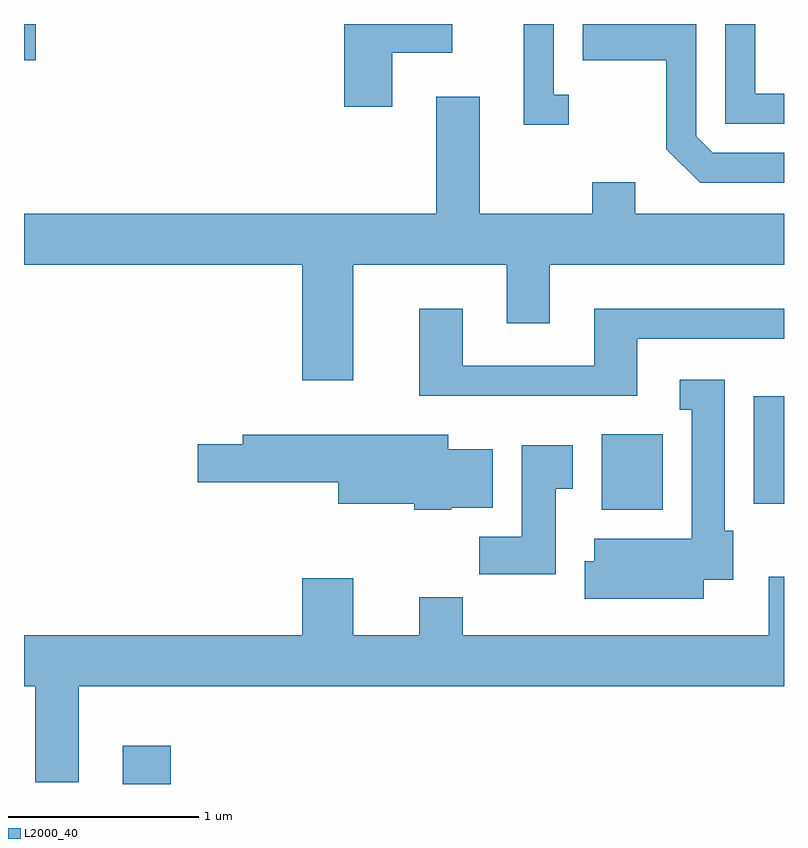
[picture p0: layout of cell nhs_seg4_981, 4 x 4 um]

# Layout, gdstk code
import gdstk
lib = gdstk.Library(unit=1e-6, precision=1e-09)
def R(c, l, rs):  # rectangles x0, y0, x1, y1
    for r in rs: c.add(gdstk.rectangle(r[:2], r[2:], *l))
def P(c, l, *ps):  # polygons
    for p in ps: c.add(gdstk.Polygon(p, *l))
L2000_40 = (2000, 40)

nhs_seg4_981 = lib.new_cell('nhs_seg4_981')
R(nhs_seg4_981, L2000_40, [(214.131,1311.982,214.384,1312.184), (216.651,1313.426,216.974,1313.824), (217.451,1313.456,217.611,1314.024), (213.611,1315.791,213.674,1315.982)])
P(nhs_seg4_981, L2000_40, [(216.478,1315.609),(216.399,1315.609),(216.399,1315.982),(216.241,1315.982),(216.241,1315.451),(216.478,1315.451)],
  [(217.611,1315.304),(217.237,1315.304),(217.149,1315.392),(217.149,1315.982),(216.551,1315.982),(216.551,1315.791),(216.991,1315.791),(216.991,1315.324),(217.169,1315.146),(217.611,1315.146)],
  [(217.611,1315.614),(217.459,1315.614),(217.459,1315.982),(217.301,1315.982),(217.301,1315.456),(217.611,1315.456)],
  [(215.549,1315.831),(215.864,1315.831),(215.864,1315.982),(215.296,1315.982),(215.296,1315.546),(215.549,1315.546)],
  [(215.344,1314.716),(216.151,1314.716),(216.151,1314.406),(216.379,1314.406),(216.379,1314.716),(217.611,1314.716),(217.611,1314.984),(216.829,1314.984),(216.829,1315.149),(216.601,1315.149),(216.601,1314.984),(216.009,1314.984),(216.009,1315.599),(215.781,1315.599),(215.781,1314.984),(213.611,1314.984),(213.611,1314.716),(215.076,1314.716),(215.076,1314.106),(215.344,1314.106)],
  [(216.839,1314.326),(217.611,1314.326),(217.611,1314.484),(216.611,1314.484),(216.611,1314.184),(215.919,1314.184),(215.919,1314.484),(215.691,1314.484),(215.691,1314.026),(216.839,1314.026)],
  [(217.189,1313.056),(217.344,1313.056),(217.344,1313.314),(217.299,1313.314),(217.299,1314.109),(217.063,1314.109),(217.063,1313.951),(217.126,1313.951),(217.126,1313.274),(216.611,1313.274),(216.611,1313.154),(216.561,1313.154),(216.561,1312.956),(217.189,1312.956)],
  [(215.86,1313.436),(216.079,1313.436),(216.079,1313.744),(215.844,1313.744),(215.844,1313.819),(214.761,1313.819),(214.761,1313.769),(214.526,1313.769),(214.526,1313.571),(215.266,1313.571),(215.266,1313.456),(215.666,1313.456),(215.666,1313.426),(215.86,1313.426)],
  [(216.409,1313.536),(216.499,1313.536),(216.499,1313.764),(216.231,1313.764),(216.231,1313.284),(216.006,1313.284),(216.006,1313.086),(216.409,1313.086)],
  [(213.899,1312.496),(217.611,1312.496),(217.611,1313.074),(217.531,1313.074),(217.531,1312.764),(215.919,1312.764),(215.919,1312.964),(215.691,1312.964),(215.691,1312.764),(215.344,1312.764),(215.344,1313.064),(215.076,1313.064),(215.076,1312.764),(213.611,1312.764),(213.611,1312.496),(213.671,1312.496),(213.671,1311.991),(213.899,1311.991)])

lib.write_gds('nhs_seg4_981.gds')
